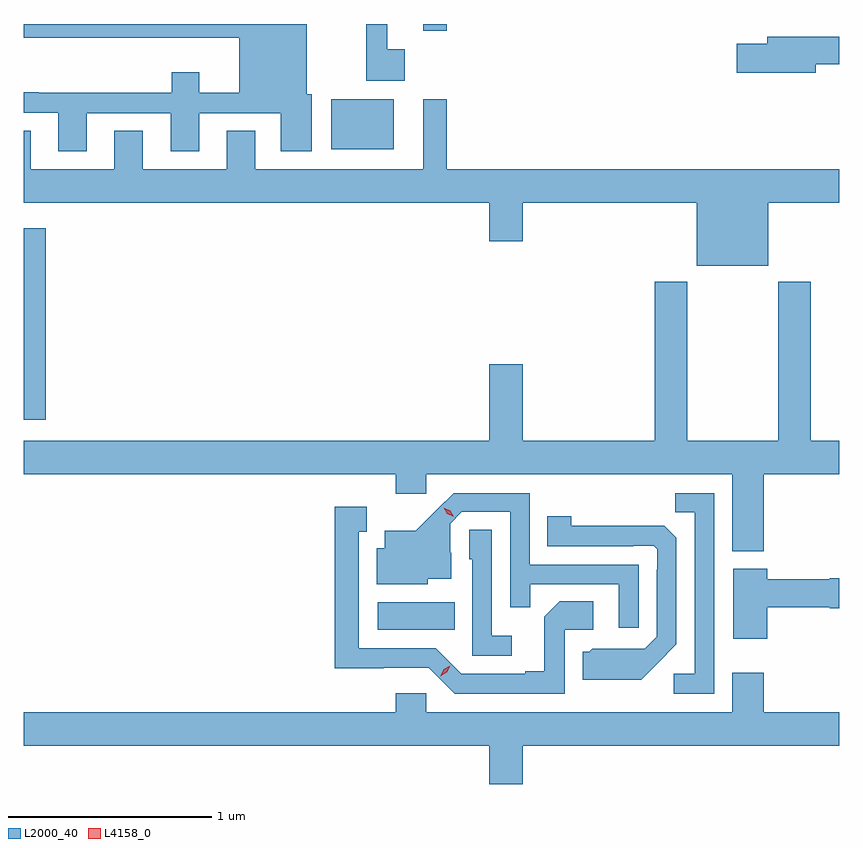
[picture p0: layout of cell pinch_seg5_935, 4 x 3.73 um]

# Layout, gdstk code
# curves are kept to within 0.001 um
import gdstk
lib = gdstk.Library(unit=1e-6, precision=1e-09)
def R(c, l, rs):  # rectangles x0, y0, x1, y1
    for r in rs: c.add(gdstk.rectangle(r[:2], r[2:], *l))
def P(c, l, *ps):  # polygons
    for p in ps: c.add(gdstk.Polygon(p, *l))
L2000_40 = (2000, 40)
L4158_0 = (4158, 0)

pinch_seg5_935 = lib.new_cell('pinch_seg5_935')
R(pinch_seg5_935, L2000_40, [(715.908,894.626,716.288,894.76), (714.173,895.656,714.281,896.596), (715.682,896.984,715.987,897.229), (716.132,897.564,716.249,897.598)])
P(pinch_seg5_935, L2000_40, [(714.481,897.159),(714.893,897.159),(714.893,896.973),(715.033,896.973),(715.033,897.159),(715.433,897.159),(715.433,896.973),(715.585,896.973),(715.585,897.252),(715.561,897.252),(715.561,897.598),(714.173,897.598),(714.173,897.53),(715.229,897.53),(715.229,897.26),(715.033,897.26),(715.033,897.361),(714.899,897.361),(714.899,897.26),(714.245,897.26),(714.245,897.263),(714.173,897.263),(714.173,897.162),(714.341,897.162),(714.341,896.973),(714.481,896.973)],
  [(716.041,897.473),(715.955,897.473),(715.955,897.598),(715.852,897.598),(715.852,897.32),(716.041,897.32)],
  [(718.06,897.4),(718.173,897.4),(718.173,897.536),(717.821,897.536),(717.821,897.5),(717.672,897.5),(717.672,897.358),(718.06,897.358)],
  [(717.826,896.72),(718.173,896.72),(718.173,896.884),(716.249,896.884),(716.249,897.229),(716.132,897.229),(716.132,896.884),(715.309,896.884),(715.309,897.074),(715.169,897.074),(715.169,896.884),(714.757,896.884),(714.757,897.074),(714.617,897.074),(714.617,896.884),(714.205,896.884),(714.205,897.074),(714.173,897.074),(714.173,896.72),(716.456,896.72),(716.456,896.532),(716.62,896.532),(716.62,896.72),(717.476,896.72),(717.476,896.411),(717.826,896.411)],
  [(717.803,895.388),(718.173,895.388),(718.173,895.552),(718.034,895.552),(718.034,896.332),(717.874,896.332),(717.874,895.552),(717.429,895.552),(717.429,896.332),(717.269,896.332),(717.269,895.552),(716.62,895.552),(716.62,895.927),(716.456,895.927),(716.456,895.552),(714.173,895.552),(714.173,895.388),(715.997,895.388),(715.997,895.293),(716.148,895.293),(716.148,895.388),(717.65,895.388),(717.65,895.01),(717.803,895.01)],
  [(717.561,895.296),(717.37,895.296),(717.37,895.201),(717.465,895.201),(717.465,894.408),(717.363,894.408),(717.363,894.312),(717.561,894.312)],
  [(717.189,894.945),(716.655,894.945),(716.655,895.296),(716.282,895.296),(716.095,895.111),(715.943,895.111),(715.943,895.024),(715.904,895.024),(715.904,894.848),(716.154,894.848),(716.154,894.875),(716.269,894.875),(716.269,895.004),(716.265,895.004),(716.265,895.146),(716.322,895.203),(716.559,895.203),(716.559,894.736),(716.657,894.736),(716.657,894.849),(717.093,894.849),(717.093,894.636),(717.189,894.636)],
  [(716.826,894.624),(716.968,894.624),(716.968,894.764),(716.803,894.764),(716.727,894.688),(716.727,894.421),(716.633,894.421),(716.633,894.408),(716.319,894.408),(716.193,894.534),(715.816,894.534),(715.816,895.107),(715.855,895.107),(715.855,895.228),(715.698,895.228),(715.698,894.437),(716.16,894.438),(716.286,894.312),(716.826,894.312)],
  [(717.283,894.461),(717.375,894.554),(717.375,895.076),(717.316,895.135),(716.859,895.136),(716.859,895.183),(716.74,895.183),(716.74,895.035),(717.164,895.035),(717.164,895.038),(717.264,895.038),(717.282,895.02),(717.282,894.92),(717.279,894.92),(717.279,894.591),(717.219,894.531),(716.962,894.532),(716.946,894.516),(716.915,894.516),(716.915,894.38),(717.203,894.38)],
  [(716.566,894.595),(716.469,894.595),(716.469,895.115),(716.358,895.115),(716.358,894.972),(716.373,894.972),(716.373,894.498),(716.566,894.498)],
  [(717.82,894.736),(718.128,894.736),(718.128,894.731),(718.173,894.731),(718.173,894.878),(718.128,894.878),(718.128,894.872),(717.82,894.872),(717.82,894.925),(717.653,894.925),(717.653,894.582),(717.82,894.582)],
  [(716.62,894.056),(718.173,894.056),(718.173,894.22),(717.803,894.22),(717.803,894.415),(717.65,894.415),(717.65,894.22),(716.148,894.22),(716.148,894.313),(715.997,894.313),(715.997,894.22),(714.173,894.22),(714.173,894.056),(716.456,894.056),(716.456,893.868),(716.62,893.868)])
P(pinch_seg5_935, L4158_0, [(716.282,895.179),(716.251,895.194),(716.233,895.224),(716.233,895.224),(716.234,895.224),(716.264,895.209),(716.282,895.18),(716.282,895.179)],
  [(716.215,894.397),(716.215,894.398),(716.232,894.43),(716.264,894.449),(716.264,894.449),(716.264,894.449),(716.247,894.416),(716.215,894.397)])

lib.write_gds('pinch_seg5_935.gds')
